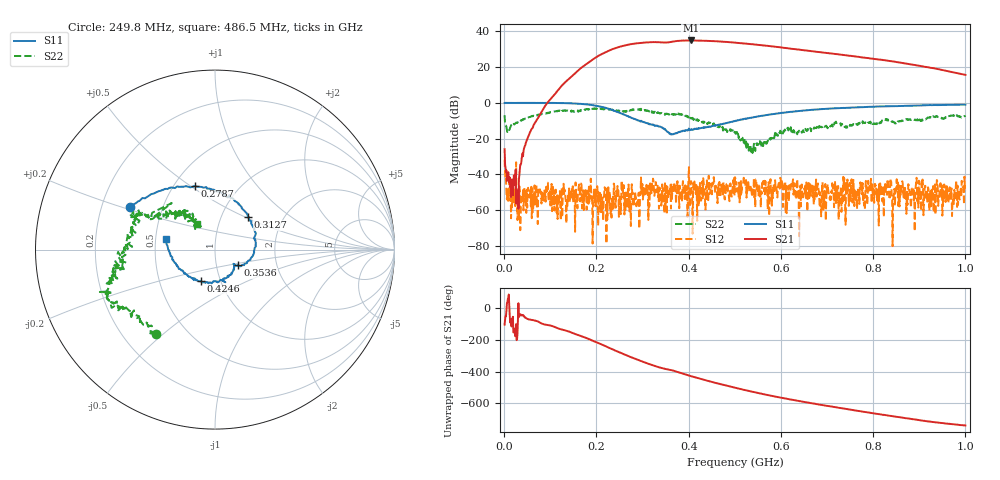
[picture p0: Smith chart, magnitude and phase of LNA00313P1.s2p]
! Created with skrf 1.9.0 (http://scikit-rf.org).
# Hz S RI R 50.0
!freq ReS11 ImS11 ReS21 ImS21 ReS12 ImS12 ReS22 ImS22
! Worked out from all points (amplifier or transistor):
!   1001 points, 1 MHz to 1 GHz, reference 50 ohm
!   highest |S21| = 35.0 dB at 404.6 MHz (marker M1)
!   |S21| within 3 dB of that: 258.2 MHz to 569.4 MHz (311.1 MHz wide, 75.2 % of centre)
!   unconditionally stable (mu >= 1): start of sweep to 86.83 MHz; 322.9 MHz to 400 MHz; 400.8 MHz to end of sweep (the widest 3 of 28)
!   at 166.8 MHz: K = 0.83, MSG = 32.4 dB, |S12| = -45.2 dB
!   at 500.5 MHz: K = 1.33, MAG = 34.3 dB, |S12| = -41.7 dB
!   at 1 GHz: K = 3.45, MAG = 23.9 dB, |S12| = -48.8 dB
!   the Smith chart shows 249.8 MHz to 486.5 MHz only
!   S11 on the Smith chart (normalised r, x): 249.8 MHz: 0.32, +0.21; 278.7 MHz: 0.63, +0.52; 312.7 MHz: 1.33, +0.52; 353.6 MHz: 1.27, -0.22; 424.6 MHz: 0.80, -0.29; 486.5 MHz: 0.57, +0.07
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1000000  0.99 0.00418  -0.0123 -0.0485  -0.0251 0.00399  0.2595 0.3665
1.08892e8  0.5149 -0.85  -0.7991 -1.496  -0.000569 0.000774  0.4294 -0.3696
1.67833e8  -0.2426 -0.8988  -9.73 -0.5264  -0.00393 0.00297  0.0262 -0.6216
2.11789e8  -0.6866 -0.3448  -15.09 17.79  -0.0001 -0.000856  -0.1965 -0.6341
2.29771e8  -0.66 -0.0391  -8.82 28.59  -0.000516 -0.000869  -0.2765 -0.5935
2.49751e8  -0.4756 0.2375  5.588 36.73  -0.000673 0.00193  -0.326 -0.4701
2.78722e8  -0.1137 0.3535  30.69 32.56  -0.00241 0.00185  -0.5763 -0.3249
3.12688e8  0.1825 0.182  48.76 7.975  -0.000218 0.000476  -0.5654 -0.1796
3.34666e8  0.218 -0.00723  48.86 -10.32  0.00258 0.00205  -0.5227 -0.0654
3.53647e8  0.1288 -0.085  44.13 -21.37  -0.00107 -0.00438  -0.487 0.0906
3.75625e8  0.1072 -0.0999  40.12 -36.63  1.46e-05 0.00639  -0.47 0.192
4.04596e8  0.023 -0.1782  20.56 -52.07  0.000406 0.00632  -0.3311 0.1814
4.24576e8  -0.0807 -0.1756  4.958 -54.9  0.00521 0.00235  -0.2416 0.1974
4.53547e8  -0.2042 -0.0988  -16.25 -51  0.00455 0.00293  -0.166 0.2023
4.86514e8  -0.2735 0.0601  -33.52 -37.54  0.00308 0.000705  -0.0993 0.1422
5.005e8  -0.2719 0.1419  -38.52 -30.21  0.00348 -0.00749  -0.1029 0.1095
5.4046e8  -0.1966 0.3422  -42.56 -8.679  0.00254 -0.00118  -0.0447 0.022
5.88412e8  0.0179 0.4934  -35.32 11.64  -0.00177 -0.00385  -0.106 -0.0659
6.67333e8  0.3965 0.4992  -13.83 24.12  -0.00132 -0.00416  -0.1913 -0.0609
7.53247e8  0.681 0.2835  4.043 20.09  -0.0025 -0.00675  -0.2334 -0.0216
8.34166e8  0.8001 0.0144  11.14 10.1  -0.00357 0.000282  -0.3278 -0.0397
1e9  0.7233 -0.5253  5.719 -2.052  -0.00325 0.00164  -0.36 0.19
